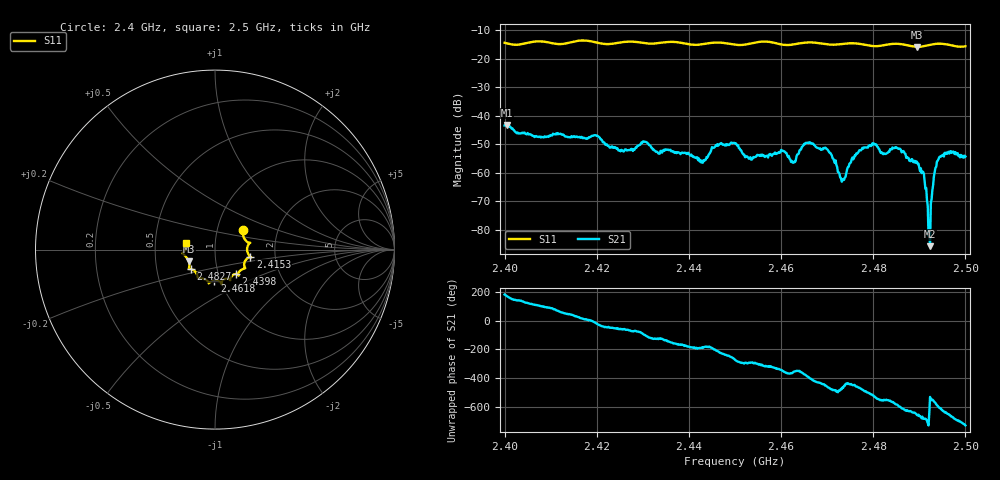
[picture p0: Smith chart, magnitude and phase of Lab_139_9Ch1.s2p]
# Hz S RI R 50
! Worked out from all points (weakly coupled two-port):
!   601 points, 2.4 GHz to 2.5 GHz, reference 50 ohm
!   highest |S21| = -43.26 dB at 2.4005 GHz (marker M1); lowest = -85.7 dB at 2.4923 GHz (marker M2)
!   lowest |S11| = -15.9 dB at 2.4895 GHz (marker M3), VSWR 1.38, Z = 37 - j5.02 ohm
!   |S11| at or under -10 dB: start of sweep to end of sweep
!   S12 and S22 are empty: the file has one direction only
!   S11 on the Smith chart (normalised r, x): 2.4 GHz: 1.33, +0.29; 2.4153 GHz: 1.48, -0.12; 2.4398 GHz: 1.21, -0.34; 2.4618 GHz: 0.94, -0.33; 2.4827 GHz: 0.75, -0.17; 2.5 GHz: 0.72, +0.06
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2.4e9  0.1553 0.1069  -0.00671 1.03e-06  0 0  0 0
2.4005e9  0.1551 0.0994  -0.00674 0.00135  0 0  0 0
2.415333e9  0.1968 -0.0396  0.00367 0.00203  0 0  0 0
2.416667e9  0.2023 -0.0436  0.0041 0.00113  0 0  0 0
2.433333e9  0.1297 -0.1337  -0.00138 -0.00171  0 0  0 0
2.439833e9  0.1155 -0.1359  -0.00223 7.62e-05  0 0  0 0
2.45e9  0.0655 -0.1623  0.000164 0.00323  0 0  0 0
2.453333e9  0.0374 -0.179  0.000745 0.00172  0 0  0 0
2.461833e9  -0.00364 -0.1728  0.00174 -0.000248  0 0  0 0
2.466667e9  -0.0348 -0.1879  0.00218 -0.00238  0 0  0 0
2.470333e9  -0.0512 -0.1681  -0.000627 -0.00229  0 0  0 0
2.473333e9  -0.0836 -0.1599  -0.000168 -0.000712  0 0  0 0
2.4775e9  -0.0976 -0.1489  -0.00115 -0.00229  0 0  0 0
2.482667e9  -0.1348 -0.1086  -0.00208 0.000456  0 0  0 0
2.483333e9  -0.1399 -0.1081  -0.00227 0.000526  0 0  0 0
2.4895e9  -0.1457 -0.0661  0.000657 0.00141  0 0  0 0
2.491e9  -0.1578 -0.0452  0.000722 0.000626  0 0  0 0
2.491833e9  -0.1658 -0.0358  0.000257 3.82e-05  0 0  0 0
2.492333e9  -0.1704 -0.0314  -5.09e-05 -9.42e-06  0 0  0 0
2.493333e9  -0.1779 -0.0251  -0.000911 0.000451  0 0  0 0
2.494333e9  -0.1804 -0.0216  -0.000847 0.00168  0 0  0 0
2.5e9  -0.1593 0.0384  0.00191 -0.000223  0 0  0 0
